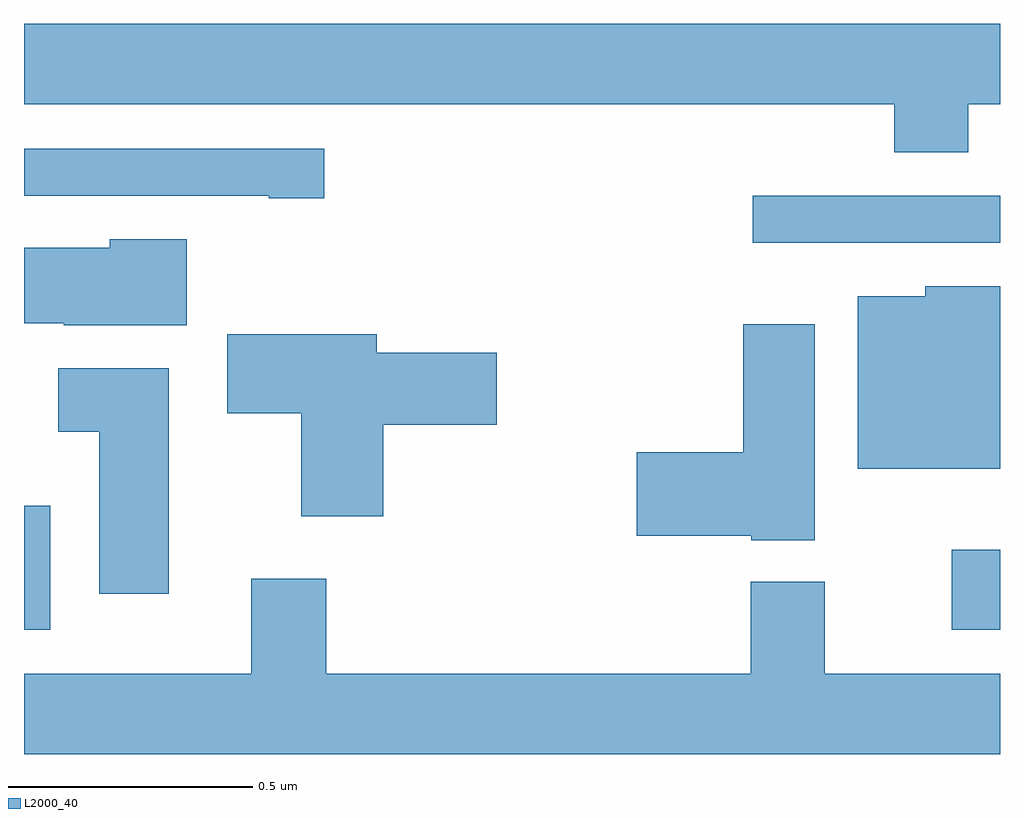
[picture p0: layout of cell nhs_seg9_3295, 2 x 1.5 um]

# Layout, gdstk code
import gdstk
lib = gdstk.Library(unit=1e-6, precision=1e-09)
def R(c, l, rs):  # rectangles x0, y0, x1, y1
    for r in rs: c.add(gdstk.rectangle(r[:2], r[2:], *l))
def P(c, l, *ps):  # polygons
    for p in ps: c.add(gdstk.Polygon(p, *l))
L2000_40 = (2000, 40)

nhs_seg9_3295 = lib.new_cell('nhs_seg9_3295')
R(nhs_seg9_3295, L2000_40, [(151,1233.971,151.054,1234.225), (152.901,1233.971,153,1234.135), (152.493,1234.764,153,1234.86)])
P(nhs_seg9_3295, L2000_40, [(152.935,1235.048),(153,1235.048),(153,1235.212),(151,1235.212),(151,1235.048),(152.783,1235.048),(152.783,1234.949),(152.935,1234.949)],
  [(151.615,1234.956),(151,1234.956),(151,1234.86),(151.502,1234.86),(151.502,1234.855),(151.615,1234.855)],
  [(151.333,1234.771),(151.176,1234.771),(151.176,1234.753),(151,1234.753),(151,1234.599),(151.081,1234.599),(151.081,1234.595),(151.333,1234.595)],
  [(153,1234.675),(152.847,1234.675),(152.847,1234.654),(152.708,1234.654),(152.708,1234.301),(153,1234.301)],
  [(152.62,1234.597),(152.474,1234.597),(152.474,1234.334),(152.256,1234.334),(152.256,1234.163),(152.49,1234.163),(152.49,1234.154),(152.62,1234.154)],
  [(151.736,1234.391),(151.969,1234.391),(151.969,1234.538),(151.723,1234.538),(151.723,1234.576),(151.416,1234.576),(151.416,1234.414),(151.568,1234.414),(151.568,1234.203),(151.736,1234.203)],
  [(151.297,1234.507),(151.07,1234.507),(151.07,1234.376),(151.154,1234.376),(151.154,1234.044),(151.297,1234.044)],
  [(153,1233.88),(152.641,1233.88),(152.641,1234.069),(152.489,1234.069),(152.489,1233.88),(151.619,1233.88),(151.619,1234.075),(151.466,1234.075),(151.466,1233.88),(151,1233.88),(151,1233.716),(153,1233.716)])

lib.write_gds('nhs_seg9_3295.gds')
